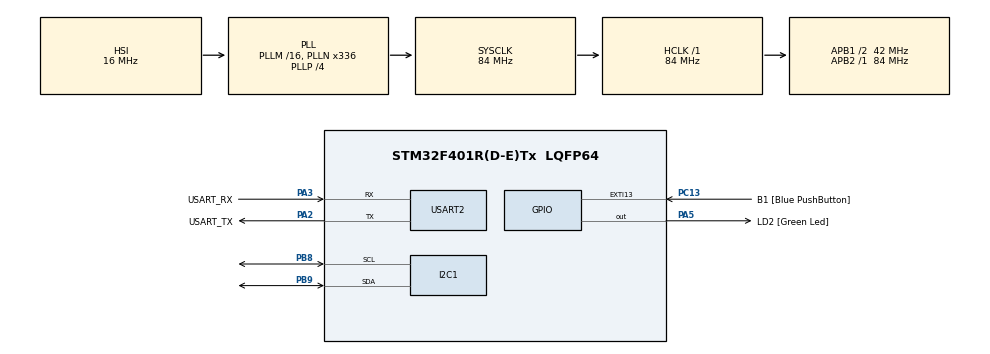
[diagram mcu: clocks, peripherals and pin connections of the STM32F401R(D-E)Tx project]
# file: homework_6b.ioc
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Dma.Request0=USART2_TX
Dma.USART2_TX.0.Direction=DMA_MEMORY_TO_PERIPH
Dma.USART2_TX.0.FIFOMode=DMA_FIFOMODE_DISABLE
Dma.USART2_TX.0.Instance=DMA1_Stream6
Dma.USART2_TX.0.MemDataAlignment=DMA_MDATAALIGN_BYTE
Dma.USART2_TX.0.MemInc=DMA_MINC_ENABLE
Dma.USART2_TX.0.Mode=DMA_NORMAL
Dma.USART2_TX.0.PeriphDataAlignment=DMA_PDATAALIGN_BYTE
Dma.USART2_TX.0.PeriphInc=DMA_PINC_DISABLE
Dma.USART2_TX.0.Priority=DMA_PRIORITY_LOW
Mcu.Family=STM32F4
Mcu.Name=STM32F401R(D-E)Tx
Mcu.Package=LQFP64
NVIC.DMA1_Stream6_IRQn=true\:0\:0\:false\:false\:true\:false\:true\:true
NVIC.PriorityGroup=NVIC_PRIORITYGROUP_0
NVIC.TIM2_IRQn=true\:0\:0\:false\:false\:true\:true\:true\:true
NVIC.USART2_IRQn=true\:0\:0\:false\:false\:true\:true\:true\:true
PA13.GPIO_Label=TMS
PA13.Mode=Serial_Wire
PA13.Signal=SYS_JTMS-SWDIO
PA14.GPIO_Label=TCK
PA14.Mode=Serial_Wire
PA14.Signal=SYS_JTCK-SWCLK
PA2.GPIO_Label=USART_TX
PA2.GPIO_Mode=GPIO_MODE_AF_PP
PA2.GPIO_PuPd=GPIO_NOPULL
PA2.GPIO_Speed=GPIO_SPEED_FREQ_LOW
PA2.Mode=Asynchronous
PA2.Signal=USART2_TX
PA3.GPIO_Label=USART_RX
PA3.GPIO_Mode=GPIO_MODE_AF_PP
PA3.GPIO_PuPd=GPIO_NOPULL
PA3.GPIO_Speed=GPIO_SPEED_FREQ_LOW
PA3.Mode=Asynchronous
PA3.Signal=USART2_RX
PA5.GPIO_Label=LD2 [Green Led]
PA5.GPIO_Mode=GPIO_MODE_OUTPUT_PP
PA5.GPIO_PuPd=GPIO_NOPULL
PA5.GPIO_Speed=GPIO_SPEED_FREQ_LOW
PA5.Signal=GPIO_Output
PB3.GPIO_Label=SWO
PB3.Signal=SYS_JTDO-SWO
PB8.Mode=I2C
PB8.Signal=I2C1_SCL
PB9.Mode=I2C
PB9.Signal=I2C1_SDA
PC13-ANTI_TAMP.GPIO_Label=B1 [Blue PushButton]
PC13-ANTI_TAMP.GPIO_ModeDefaultEXTI=GPIO_MODE_IT_FALLING
PC13-ANTI_TAMP.GPIO_PuPd=GPIO_NOPULL
PC13-ANTI_TAMP.Signal=GPXTI13
PC14-OSC32_IN.Mode=LSE-External-Oscillator
PC14-OSC32_IN.Signal=RCC_OSC32_IN
PC15-OSC32_OUT.Mode=LSE-External-Oscillator
PC15-OSC32_OUT.Signal=RCC_OSC32_OUT
PH0\ -\ OSC_IN.Mode=HSE-External-Clock-Source
PH0\ -\ OSC_IN.Signal=RCC_OSC_IN
PH1\ -\ OSC_OUT.Mode=HSE-External-Clock-Source
PH1\ -\ OSC_OUT.Signal=RCC_OSC_OUT
ProjectManager.HeapSize=0x200
ProjectManager.StackSize=0x400
ProjectManager.TargetToolchain=STM32CubeIDE
RCC.48MHZClocksFreq_Value=48000000
RCC.AHBFreq_Value=84000000
RCC.APB1CLKDivider=RCC_HCLK_DIV2
RCC.APB1Freq_Value=42000000
RCC.APB1TimFreq_Value=84000000
RCC.APB2Freq_Value=84000000
RCC.APB2TimFreq_Value=84000000
RCC.CortexFreq_Value=84000000
RCC.HCLKFreq_Value=84000000
RCC.HSE_VALUE=8000000
RCC.HSI_VALUE=16000000
RCC.PLLN=336
RCC.PLLP=RCC_PLLP_DIV4
RCC.PLLQ=7
RCC.SYSCLKFreq_VALUE=84000000
RCC.SYSCLKSource=RCC_SYSCLKSOURCE_PLLCLK
RCC.VCOOutputFreq_Value=336000000
TIM2.Period=9999
TIM2.Prescaler=8399
USART2.VirtualMode=VM_ASYNC
VP_TIM2_VS_ClockSourceINT.Mode=Internal
board=NUCLEO-F401RE

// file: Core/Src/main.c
/* USER CODE BEGIN Header */
/**
  ******************************************************************************
  * @file           : main.c
  * @brief          : Main program body
  ******************************************************************************
  * @attention
  *
  * Copyright (c) 2023 STMicroelectronics.
  * All rights reserved.
  *
  * This software is licensed under terms that can be found in the LICENSE file
  * in the root directory of this software component.
  * If no LICENSE file comes with this software, it is provided AS-IS.
  *
  ******************************************************************************
  */
/* USER CODE END Header */
#include "main.h"
#include <stdio.h>

/* USER CODE BEGIN PD */
#define DIM_S 100
/* USER CODE END PD */

I2C_HandleTypeDef hi2c1;

TIM_HandleTypeDef htim2;

UART_HandleTypeDef huart2;
DMA_HandleTypeDef hdma_usart2_tx;

/* USER CODE BEGIN PV */
char buffer_str_out[DIM_S];

// All of these addresses are found on the lis2de pdf file.

uint8_t ACCEL_ADD  = 0b01010000;
uint8_t LIS2DE12_ADD  = 0b00110000;
//reg address, 1Hz + normal mode (0001) + no low power mode + XYZ enabled (last 3 bits)
uint8_t CTRL_REG1[]={0x20, 0b00010111};
//reg address, no HPF (default value at startup)
uint8_t CTRL_REG2[]={0x21, 0b00000000};
//reg address, continuous update + 2g FSR + self test disabled (default value at startup)
uint8_t CTRL_REG4[]={0x23, 0b00000000};
// addresses of registers where the values are put
uint8_t OUT_X_ADD = 0X29;
uint8_t OUT_Y_ADD = 0X2B;
uint8_t OUT_Z_ADD = 0X2D;
/* USER CODE END PV */

void SystemClock_Config(void);
static void MX_GPIO_Init(void);
static void MX_DMA_Init(void);
static void MX_USART2_UART_Init(void);
static void MX_I2C1_Init(void);
static void MX_TIM2_Init(void);
/* USER CODE BEGIN PFP */
void initAccelerometer();
void getAccelerometerData();
/* USER CODE END PFP */

/* USER CODE BEGIN 0 */
void HAL_TIM_PeriodElapsedCallback (TIM_HandleTypeDef * htim){
	// At each timer tick, ask to the sensor for the X, Y, Z and report them to the remote machine
	getAccelerometerData();
}

void getAccelerometerData(){
    int len = 0; // Length of the string that will be transmitted using USART

    // Variables where we put the read data from the sensor
	int8_t acc_x = 0;
	int8_t acc_y = 0;
	int8_t acc_z = 0;

	// Get X
	// Transmit to the sensor the address of the register with the X value
	HAL_I2C_Master_Transmit(&hi2c1, ACCEL_ADD, &OUT_X_ADD, 1,50);
	// Receive the X value now (+1 to the device address since it is a read operation)
	HAL_I2C_Master_Receive(&hi2c1, ACCEL_ADD+1, (uint8_t*) &acc_x, 1, 50);

	// Get Y
	HAL_I2C_Master_Transmit(&hi2c1, ACCEL_ADD, &OUT_Y_ADD, 1,50);
	HAL_I2C_Master_Receive(&hi2c1, ACCEL_ADD+1, (uint8_t*) &acc_y, 1, 50);

	// Get Z
	HAL_I2C_Master_Transmit(&hi2c1, ACCEL_ADD, &OUT_Z_ADD, 1,50);
	HAL_I2C_Master_Receive(&hi2c1, ACCEL_ADD+1, (uint8_t*) &acc_z, 1, 50);

	// The resolution is 4/256, so we make the conversion as follows
	float acc_g_x = acc_x/64.0;
	float acc_g_y = acc_y/64.0;
	float acc_g_z = acc_z/64.0;

	// Format the output string with 2 decimal values and forcing the sign to be shown also when value is positive
	len = snprintf(buffer_str_out, DIM_S, "X: %+.2f g\tY: %+.2f g\tZ: %+.2f g\r\n", acc_g_x, acc_g_y , acc_g_z);

	HAL_UART_Transmit_DMA(&huart2, (uint8_t*) buffer_str_out, len);
}

void initAccelerometer()
{
    int len = 0;// Length of the string that will be transmitted using USART

    // Initialize Accelerometer: need to detect which sensor the board has.
    // Check for the LIS2DE: write to its address and check positive response
    if (HAL_I2C_Master_Transmit(&hi2c1, ACCEL_ADD, CTRL_REG1, sizeof(CTRL_REG1), 50) == HAL_OK)
    {
        len = snprintf(buffer_str_out, DIM_S, "LIS2DE found\r\n");
        // If OK, then we have a LIS2DE sensor
    }
    else
    {
        // Otherwise, we change the address to the LIS2DE12 and check if it's the correct sensor
        ACCEL_ADD = LIS2DE12_ADD;
        if (HAL_I2C_Master_Transmit(&hi2c1, ACCEL_ADD, CTRL_REG1, sizeof(CTRL_REG1), 50) == HAL_OK)
        {
            len = snprintf(buffer_str_out, DIM_S, "LIS2DE12 found\r\n");
            // If OK, then we have a LIS2DE12 sensor
        }
        else
        {
        	// Error, no sensor found
            len = snprintf(buffer_str_out, DIM_S, "Accelerometer error\r\n");
        }
    }
    HAL_UART_Transmit_DMA(&huart2,(uint8_t*) buffer_str_out, len);

   	// Configure the sensor (not useful here since we are asking for default configuration, but
    // changing the constant above we can set other configurations quickly)
    HAL_I2C_Master_Transmit(&hi2c1, ACCEL_ADD,CTRL_REG2, sizeof(CTRL_REG2), 50);
    HAL_I2C_Master_Transmit(&hi2c1, ACCEL_ADD,CTRL_REG4, sizeof(CTRL_REG4), 50);
}
/* USER CODE END 0 */

int main(void)
{

  /* MCU Configuration--------------------------------------------------------*/

  /* Reset of all peripherals, Initializes the Flash interface and the Systick. */
  HAL_Init();

  /* Configure the system clock */
  SystemClock_Config();

  /* Initialize all configured peripherals */
  MX_GPIO_Init();
  MX_DMA_Init();
  MX_USART2_UART_Init();
  MX_I2C1_Init();
  MX_TIM2_Init();
  /* USER CODE BEGIN 2 */
  initAccelerometer();
  HAL_TIM_Base_Start_IT(&htim2);
  /* USER CODE END 2 */

  /* Infinite loop */
  while (1)
  {

  }
}

void SystemClock_Config(void)
{
  RCC_OscInitTypeDef RCC_OscInitStruct = {0};
  RCC_ClkInitTypeDef RCC_ClkInitStruct = {0};

  /** Configure the main internal regulator output voltage
  */
  __HAL_RCC_PWR_CLK_ENABLE();
  __HAL_PWR_VOLTAGESCALING_CONFIG(PWR_REGULATOR_VOLTAGE_SCALE2);

  /** Initializes the RCC Oscillators according to the specified parameters
  * in the RCC_OscInitTypeDef structure.
  */
  RCC_OscInitStruct.OscillatorType = RCC_OSCILLATORTYPE_HSI;
  RCC_OscInitStruct.HSIState = RCC_HSI_ON;
  RCC_OscInitStruct.HSICalibrationValue = RCC_HSICALIBRATION_DEFAULT;
  RCC_OscInitStruct.PLL.PLLState = RCC_PLL_ON;
  RCC_OscInitStruct.PLL.PLLSource = RCC_PLLSOURCE_HSI;
  RCC_OscInitStruct.PLL.PLLM = 16;
  RCC_OscInitStruct.PLL.PLLN = 336;
  RCC_OscInitStruct.PLL.PLLP = RCC_PLLP_DIV4;
  RCC_OscInitStruct.PLL.PLLQ = 7;
  if (HAL_RCC_OscConfig(&RCC_OscInitStruct) != HAL_OK)
  {
    Error_Handler();
  }

  /** Initializes the CPU, AHB and APB buses clocks
  */
  RCC_ClkInitStruct.ClockType = RCC_CLOCKTYPE_HCLK|RCC_CLOCKTYPE_SYSCLK
                              |RCC_CLOCKTYPE_PCLK1|RCC_CLOCKTYPE_PCLK2;
  RCC_ClkInitStruct.SYSCLKSource = RCC_SYSCLKSOURCE_PLLCLK;
  RCC_ClkInitStruct.AHBCLKDivider = RCC_SYSCLK_DIV1;
  RCC_ClkInitStruct.APB1CLKDivider = RCC_HCLK_DIV2;
  RCC_ClkInitStruct.APB2CLKDivider = RCC_HCLK_DIV1;

  if (HAL_RCC_ClockConfig(&RCC_ClkInitStruct, FLASH_LATENCY_2) != HAL_OK)
  {
    Error_Handler();
  }
}

static void MX_I2C1_Init(void)
{

  hi2c1.Instance = I2C1;
  hi2c1.Init.ClockSpeed = 100000;
  hi2c1.Init.DutyCycle = I2C_DUTYCYCLE_2;
  hi2c1.Init.OwnAddress1 = 0;
  hi2c1.Init.AddressingMode = I2C_ADDRESSINGMODE_7BIT;
  hi2c1.Init.DualAddressMode = I2C_DUALADDRESS_DISABLE;
  hi2c1.Init.OwnAddress2 = 0;
  hi2c1.Init.GeneralCallMode = I2C_GENERALCALL_DISABLE;
  hi2c1.Init.NoStretchMode = I2C_NOSTRETCH_DISABLE;
  if (HAL_I2C_Init(&hi2c1) != HAL_OK)
  {
    Error_Handler();
  }

}

static void MX_TIM2_Init(void)
{

  TIM_ClockConfigTypeDef sClockSourceConfig = {0};
  TIM_MasterConfigTypeDef sMasterConfig = {0};

  htim2.Instance = TIM2;
  htim2.Init.Prescaler = 8399;
  htim2.Init.CounterMode = TIM_COUNTERMODE_UP;
  htim2.Init.Period = 9999;
  htim2.Init.ClockDivision = TIM_CLOCKDIVISION_DIV1;
  htim2.Init.AutoReloadPreload = TIM_AUTORELOAD_PRELOAD_DISABLE;
  if (HAL_TIM_Base_Init(&htim2) != HAL_OK)
  {
    Error_Handler();
  }
  sClockSourceConfig.ClockSource = TIM_CLOCKSOURCE_INTERNAL;
  if (HAL_TIM_ConfigClockSource(&htim2, &sClockSourceConfig) != HAL_OK)
  {
    Error_Handler();
  }
  sMasterConfig.MasterOutputTrigger = TIM_TRGO_RESET;
  sMasterConfig.MasterSlaveMode = TIM_MASTERSLAVEMODE_DISABLE;
  if (HAL_TIMEx_MasterConfigSynchronization(&htim2, &sMasterConfig) != HAL_OK)
  {
    Error_Handler();
  }

}

static void MX_USART2_UART_Init(void)
{

  huart2.Instance = USART2;
  huart2.Init.BaudRate = 115200;
  huart2.Init.WordLength = UART_WORDLENGTH_8B;
  huart2.Init.StopBits = UART_STOPBITS_1;
  huart2.Init.Parity = UART_PARITY_NONE;
  huart2.Init.Mode = UART_MODE_TX_RX;
  huart2.Init.HwFlowCtl = UART_HWCONTROL_NONE;
  huart2.Init.OverSampling = UART_OVERSAMPLING_16;
  if (HAL_UART_Init(&huart2) != HAL_OK)
  {
    Error_Handler();
  }

}

static void MX_DMA_Init(void)
{

  /* DMA controller clock enable */
  __HAL_RCC_DMA1_CLK_ENABLE();

  /* DMA interrupt init */
  /* DMA1_Stream6_IRQn interrupt configuration */
  HAL_NVIC_SetPriority(DMA1_Stream6_IRQn, 0, 0);
  HAL_NVIC_EnableIRQ(DMA1_Stream6_IRQn);

}

static void MX_GPIO_Init(void)
{
  GPIO_InitTypeDef GPIO_InitStruct = {0};

  /* GPIO Ports Clock Enable */
  __HAL_RCC_GPIOC_CLK_ENABLE();
  __HAL_RCC_GPIOH_CLK_ENABLE();
  __HAL_RCC_GPIOA_CLK_ENABLE();
  __HAL_RCC_GPIOB_CLK_ENABLE();

  /*Configure GPIO pin Output Level */
  HAL_GPIO_WritePin(LD2_GPIO_Port, LD2_Pin, GPIO_PIN_RESET);

  /*Configure GPIO pin : B1_Pin */
  GPIO_InitStruct.Pin = B1_Pin;
  GPIO_InitStruct.Mode = GPIO_MODE_IT_FALLING;
  GPIO_InitStruct.Pull = GPIO_NOPULL;
  HAL_GPIO_Init(B1_GPIO_Port, &GPIO_InitStruct);

  /*Configure GPIO pin : LD2_Pin */
  GPIO_InitStruct.Pin = LD2_Pin;
  GPIO_InitStruct.Mode = GPIO_MODE_OUTPUT_PP;
  GPIO_InitStruct.Pull = GPIO_NOPULL;
  GPIO_InitStruct.Speed = GPIO_SPEED_FREQ_LOW;
  HAL_GPIO_Init(LD2_GPIO_Port, &GPIO_InitStruct);

}

void Error_Handler(void)
{
  __disable_irq();
  while (1)
  {
  }
}
